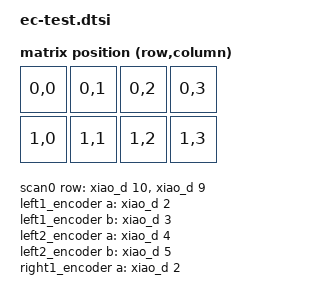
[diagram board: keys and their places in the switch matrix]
#include <dt-bindings/zmk/matrix_transform.h>
#include <physical_layouts.dtsi>

/ {
    chosen {
        zmk,physical-layout = &physical_layout0;
    };

    physical_layout0: physical_layout0 {
        compatible = "zmk,physical-layout";
        display-name = "Futaba Keyboard";
        kscan = <&kscan0>;
        transform = <&default_transform>;
        };

    default_transform: keymap_transform0 {
        compatible = "zmk,matrix-transform";
        columns = <4>;
        rows = <2>;
        map = <
            RC(0,0) RC(0,1) RC(0,2) RC(0,3)
            RC(1,0) RC(1,1) RC(1,2) RC(1,3)
        >;
    };

    scan0: kscan0 {
        compatible = "zmk,kscan-gpio-matrix";
        diode-direction = "col2row";

        row-gpios
            = <&xiao_d 10 (GPIO_ACTIVE_HIGH | GPIO_PULL_DOWN)>
            , <&xiao_d 9 (GPIO_ACTIVE_HIGH | GPIO_PULL_DOWN)>
            ;
    };

    left1_encoder: encoder_left1 {
        compatible = "alps,ec11";
        a-gpios = <&xiao_d 2 (GPIO_ACTIVE_HIGH | GPIO_PULL_UP)>;
        b-gpios = <&xiao_d 3 (GPIO_ACTIVE_HIGH | GPIO_PULL_UP)>;
        steps = <24>;
        status = "disabled";
    };
    left2_encoder: encoder_left2 {
        compatible = "alps,ec11";
        a-gpios = <&xiao_d 4 (GPIO_ACTIVE_HIGH | GPIO_PULL_UP)>;
        b-gpios = <&xiao_d 5 (GPIO_ACTIVE_HIGH | GPIO_PULL_UP)>;
        steps = <24>;
        status = "disabled";
    };

    right1_encoder: encoder_right1 {
        compatible = "alps,ec11";
        a-gpios = <&xiao_d 2 (GPIO_ACTIVE_HIGH | GPIO_PULL_UP)>;
        b-gpios = <&xiao_d 3 (GPIO_ACTIVE_HIGH | GPIO_PULL_UP)>;
        steps = <24>;
        status = "disabled";
    };
    right2_encoder: encoder_right2 {
        compatible = "alps,ec11";
        a-gpios = <&xiao_d 4 (GPIO_ACTIVE_HIGH | GPIO_PULL_UP)>;
        b-gpios = <&xiao_d 5 (GPIO_ACTIVE_HIGH | GPIO_PULL_UP)>;
        steps = <24>;
        status = "disabled";
    };

    sensors: sensors {
        compatible = "zmk,keymap-sensors";
        sensors = <&left_encoder &right_encoder>;
        triggers-per-rotation = <6>;
    };
};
